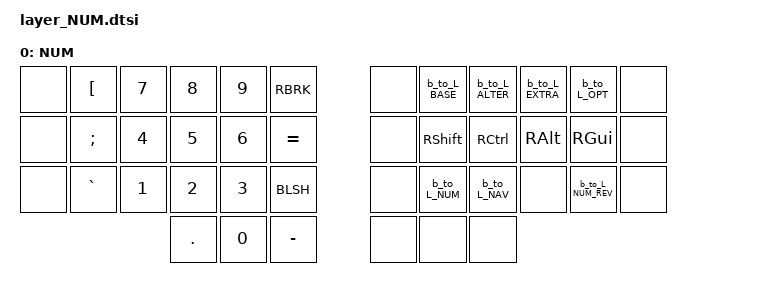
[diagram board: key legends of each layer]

/ {
    keymap {
        compatible = "zmk,keymap";

        numeric {
            // -----------------------------------------------------------------------------------------
            // |      |  [  |  6  |  7  |  9  |  ]  |           |     |     |     |     |     |      |
            // |      |  ;  |  4  |  5  |  6  |  =  |           |     | SFT | CTR | ALT | GUI |      |
            // |      |  `  |  1  |  2  |  3  |  \  |           |     |     |     |     |     |      |
            //                    |  .  |  0  |  -  |           |     |     |     |

            display-name = "NUM";
            bindings = <
&none  &kp LBKT   &kp N7  &kp N8   &kp N9  &kp RBRK     &none  &b_to_L_BASE  &b_to_L_ALTER &b_to_L_EXTRA &b_to_L_OPT      &none 
&none  &kp SEMI   &kp N4  &kp N5   &kp N6  &kp EQUAL    &none  &kp RSHFT     &kp RCTRL     &kp RALT      &kp RGUI         &none 
&none  &kp GRAVE  &kp N1  &kp N2   &kp N3  &kp BLSH     &none  &b_to_L_NUM   &b_to_L_NAV   &none         &b_to_L_NUM_REV  &none 
                          &kp DOT  &kp N0  &kp MINUS    &none  &none         &none
            >;
        };
    };
};
